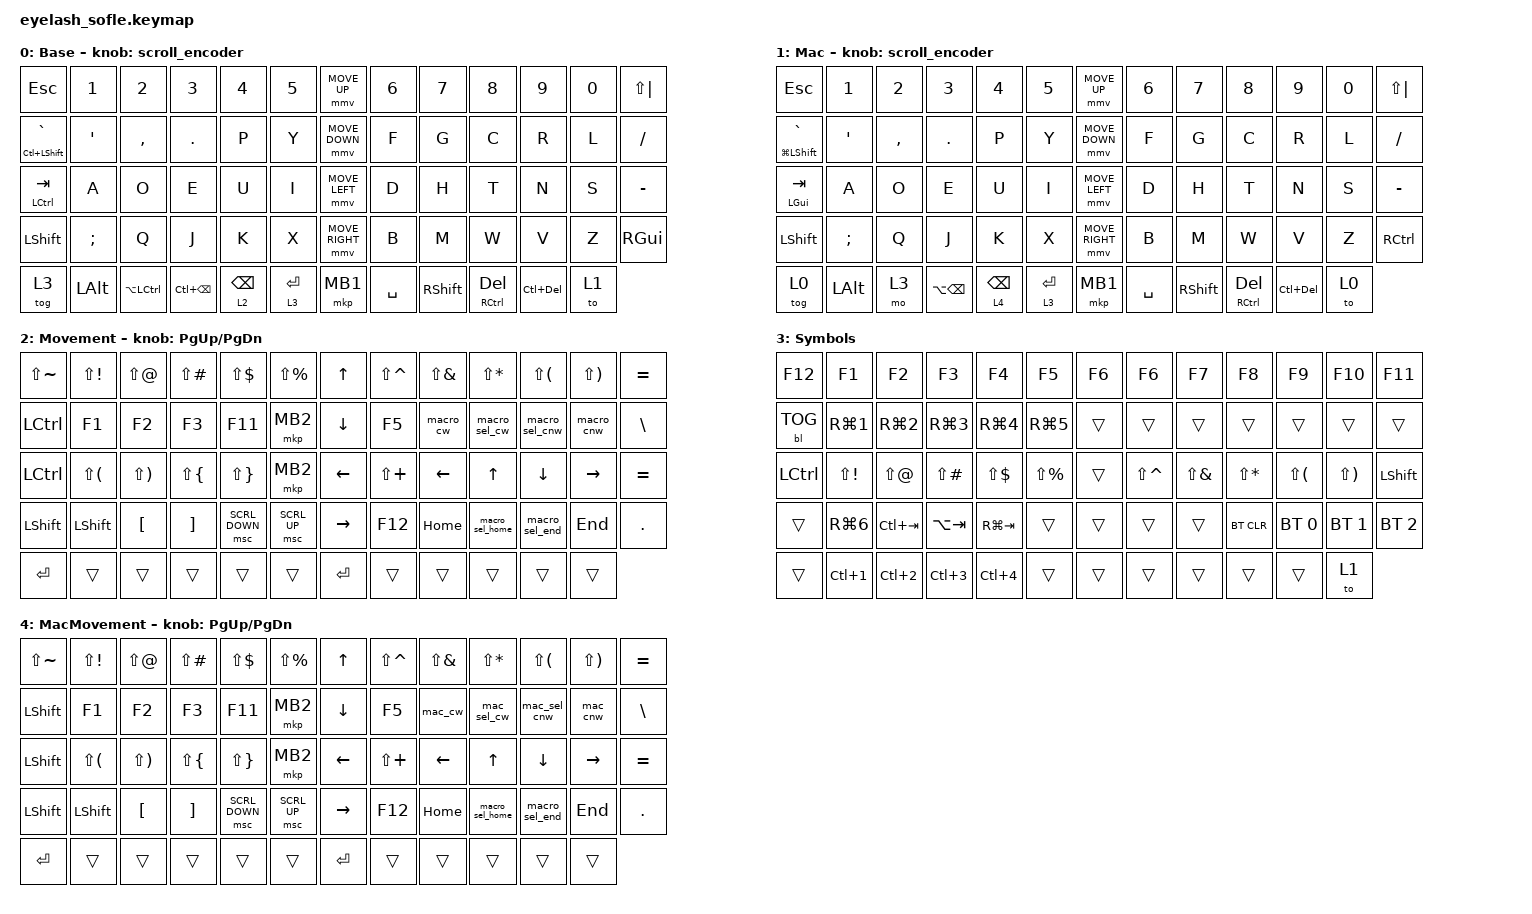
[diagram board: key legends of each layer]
#define ZMK_POINTING_DEFAULT_MOVE_VAL 1200
#define ZMK_POINTING_DEFAULT_SCRL_VAL 25

#include <input/processors.dtsi>
#include <zephyr/dt-bindings/input/input-event-codes.h>
#include <dt-bindings/zmk/behaviors.h>
#include <behaviors.dtsi>
#include <dt-bindings/zmk/backlight.h>
#include <dt-bindings/zmk/bt.h>
#include <dt-bindings/zmk/keys.h>
#include <dt-bindings/zmk/pointing.h>

&mmv_input_listener { input-processors = <&zip_xy_scaler 2 1>; };

&msc_input_listener { input-processors = <&zip_scroll_scaler 2 1>; };

&msc {
    acceleration-exponent = <1>;
    time-to-max-speed-ms = <100>;
    delay-ms = <0>;
};

&mmv {
    time-to-max-speed-ms = <200>;
    acceleration-exponent = <2>;
    trigger-period-ms = <10>;
};

/ {
    scroll_encoder: scroll_encoder {
        compatible = "zmk,behavior-sensor-rotate";
        #sensor-binding-cells = <0>;
        bindings = <&msc SCRL_DOWN>, <&msc SCRL_UP>;

        tap-ms = <100>;
    };

    mt_mo_kp: mt_mo_kp {
        compatible = "zmk,behavior-hold-tap";
        label = "MT_MO_KP";
        bindings = <&mo>, <&kp>;

        #binding-cells = <2>;
        tapping-term-ms = <200>;
        flavor = "balanced";
    };

    macros {
        macro_ctrl_bspc: macro_ctrl_bspc {
            compatible = "zmk,behavior-macro";
            #binding-cells = <0>;
            bindings = <&kp LCTRL &kp BSPC>;
        };

        macro_copy: macro_copy {
            compatible = "zmk,behavior-macro";
            #binding-cells = <0>;
            bindings =
                <&macro_press>,
                <&kp LCTRL>,
                <&macro_tap>,
                <&kp C>,
                <&macro_release>,
                <&kp LCTRL>;
        };

        macro_paste: macro_paste {
            compatible = "zmk,behavior-macro";
            #binding-cells = <0>;
            bindings =
                <&macro_press>,
                <&kp LCTRL>,
                <&macro_tap>,
                <&kp V>,
                <&macro_release>,
                <&kp LCTRL>;
        };

        macro_sel_cw: macro_sel_cw {
            compatible = "zmk,behavior-macro";
            #binding-cells = <0>;
            bindings =
                <&macro_press>,
                <&kp LCTRL &kp LSHFT>,
                <&macro_tap>,
                <&kp LEFT>,
                <&macro_release>,
                <&kp LCTRL &kp LSHFT>;
        };

        macro_sel_cnw: macro_sel_cnw {
            compatible = "zmk,behavior-macro";
            #binding-cells = <0>;
            bindings =
                <&macro_press>,
                <&kp LCTRL &kp LSHFT>,
                <&macro_tap>,
                <&kp RIGHT>,
                <&macro_release>,
                <&kp LCTRL &kp LSHFT>;
        };

        macro_cnw: macro_cnw {
            compatible = "zmk,behavior-macro";
            #binding-cells = <0>;
            bindings =
                <&macro_press>,
                <&kp LCTRL>,
                <&macro_tap>,
                <&kp RIGHT>,
                <&macro_release>,
                <&kp LCTRL>;
        };

        macro_sel_home: macro_sel_home {
            compatible = "zmk,behavior-macro";
            #binding-cells = <0>;
            bindings =
                <&macro_press>,
                <&kp LSHFT>,
                <&macro_tap>,
                <&kp HOME>,
                <&macro_release>,
                <&kp LEFT_SHIFT>;
        };

        macro_snippet: macro_snippet {
            compatible = "zmk,behavior-macro";
            #binding-cells = <0>;
            bindings =
                <&macro_press>,
                <&kp LGUI &kp LSHFT>,
                <&macro_tap>,
                <&kp S>,
                <&macro_release>,
                <&kp LGUI &kp LSHFT>;
        };

        macro_cw: macro_cw {
            compatible = "zmk,behavior-macro";
            #binding-cells = <0>;
            bindings =
                <&macro_press>,
                <&kp LCTRL>,
                <&macro_tap>,
                <&kp LEFT>,
                <&macro_release>,
                <&kp LCTRL>;

            label = "MACRO_CW";
        };

        mac_sel_cw: mac_sel_cw {
            compatible = "zmk,behavior-macro";
            #binding-cells = <0>;
            bindings =
                <&macro_press>,
                <&kp LEFT_ALT &kp LSHFT>,
                <&macro_tap>,
                <&kp LEFT>,
                <&macro_release>,
                <&kp LALT &kp LSHFT>;

            label = "MAC_SEL_CW";
        };

        mac_sel_cnw: mac_sel_cnw {
            compatible = "zmk,behavior-macro";
            #binding-cells = <0>;
            bindings =
                <&macro_press>,
                <&kp LALT &kp LSHFT>,
                <&macro_tap>,
                <&kp RIGHT>,
                <&macro_release>,
                <&kp LALT &kp LSHFT>;

            label = "MAC_SEL_CNW";
        };

        mac_cnw: mac_cnw {
            compatible = "zmk,behavior-macro";
            #binding-cells = <0>;
            bindings =
                <&macro_press>,
                <&kp LALT>,
                <&macro_tap>,
                <&kp RIGHT>,
                <&macro_release>,
                <&kp LALT>;

            label = "MAC_CNW";
        };

        mac_cw: mac_cw {
            compatible = "zmk,behavior-macro";
            #binding-cells = <0>;
            bindings =
                <&macro_press>,
                <&kp LALT>,
                <&macro_tap>,
                <&kp LEFT>,
                <&macro_release>,
                <&kp LALT>;

            label = "MAC_CW";
        };

        macro_sel_end: macro_sel_end {
            compatible = "zmk,behavior-macro";
            #binding-cells = <0>;
            bindings =
                <&macro_press>,
                <&kp LSHFT>,
                <&macro_tap>,
                <&kp END>,
                <&macro_release>,
                <&kp LEFT_SHIFT>;

            label = "MACRO_SEL_END";
        };
    };

    behaviors {
    };

    keymap {
        compatible = "zmk,keymap";

        Base {
            bindings = <
&kp ESC              &kp N1        &kp N2         &kp N3        &kp N4           &kp N5         &mmv MOVE_UP     &kp N6     &kp N7     &kp N8            &kp N9       &kp N0  &kp LS(PIPE)
&mt LC(LSHFT) GRAVE  &kp SQT       &kp COMMA      &kp DOT       &kp P            &kp Y          &mmv MOVE_DOWN   &kp F      &kp G      &kp C             &kp R        &kp L   &kp FSLH
&mt LCTRL TAB        &kp A         &kp O          &kp E         &kp U            &kp I          &mmv MOVE_LEFT   &kp D      &kp H      &kp T             &kp N        &kp S   &kp MINUS
&kp LSHFT            &kp SEMI      &kp Q          &kp J         &kp K            &kp X          &mmv MOVE_RIGHT  &kp B      &kp M      &kp W             &kp V        &kp Z   &kp RGUI
&tog 3               &kp LEFT_ALT  &kp LA(LCTRL)  &kp LC(BSPC)  &lt 2 BACKSPACE  &lt 3 ENTER    &mkp MB1         &kp SPACE  &kp RSHFT  &mt RCTRL DELETE  &kp LC(DEL)  &to 1
            >;

            sensor-bindings = <&scroll_encoder>;
        };

        Mac {
            bindings = <
&kp ESC              &kp N1        &kp N2     &kp N3        &kp N4           &kp N5         &mmv MOVE_UP     &kp N6     &kp N7     &kp N8            &kp N9       &kp N0  &kp LS(PIPE)
&mt LG(LSHFT) GRAVE  &kp SQT       &kp COMMA  &kp DOT       &kp P            &kp Y          &mmv MOVE_DOWN   &kp F      &kp G      &kp C             &kp R        &kp L   &kp FSLH
&mt LEFT_GUI TAB     &kp A         &kp O      &kp E         &kp U            &kp I          &mmv MOVE_LEFT   &kp D      &kp H      &kp T             &kp N        &kp S   &kp MINUS
&kp LSHFT            &kp SEMI      &kp Q      &kp J         &kp K            &kp X          &mmv MOVE_RIGHT  &kp B      &kp M      &kp W             &kp V        &kp Z   &kp RCTRL
&tog 0               &kp LEFT_ALT  &mo 3      &kp LA(BSPC)  &lt 4 BACKSPACE  &lt 3 ENTER    &mkp MB1         &kp SPACE  &kp RSHFT  &mt RCTRL DELETE  &kp LC(DEL)  &to 0
            >;

            sensor-bindings = <&scroll_encoder>;
        };

        Movement {
            bindings = <
&kp LS(TILDE)  &kp LS(EXCL)  &kp LS(AT)    &kp LS(POUND)  &kp LS(DLLR)    &kp LS(PRCNT)    &kp UP     &kp LS(CARET)  &kp LS(AMPS)  &kp LS(STAR)     &kp LS(LPAR)    &kp LS(RPAR)  &kp EQUAL
&kp LCTRL      &kp F1        &kp F2        &kp F3         &kp F11         &mkp MB2         &kp DOWN   &kp F5         &macro_cw     &macro_sel_cw    &macro_sel_cnw  &macro_cnw    &kp BSLH
&kp LCTRL      &kp LS(LPAR)  &kp LS(RPAR)  &kp LS(LBRC)   &kp LS(RBRC)    &mkp MB2         &kp LEFT   &kp LS(PLUS)   &kp LEFT      &kp UP           &kp DOWN        &kp RIGHT     &kp EQUAL
&kp LSHFT      &kp LSHFT     &kp LBKT      &kp RBKT       &msc SCRL_DOWN  &msc SCRL_UP     &kp RIGHT  &kp F12        &kp HOME      &macro_sel_home  &macro_sel_end  &kp END       &kp DOT
&kp RET        &trans        &trans        &trans         &trans          &trans           &kp RET    &trans         &trans        &trans           &trans          &trans
            >;

            sensor-bindings = <&inc_dec_kp PAGE_UP PAGE_DOWN>;
        };

        Symbols {
            bindings = <
&kp F12     &kp F1            &kp F2            &kp F3            &kp F4            &kp F5           &kp F6  &kp F6         &kp F7        &kp F8        &kp F9        &kp F10       &kp F11
&bl BL_TOG  &kp RG(NUMBER_1)  &kp RG(NUMBER_2)  &kp RG(NUMBER_3)  &kp RG(NUMBER_4)  &kp RG(N5)       &trans  &trans         &trans        &trans        &trans        &trans        &trans
&kp LCTRL   &kp LS(EXCL)      &kp LS(AT)        &kp LS(POUND)     &kp LS(DLLR)      &kp LS(PRCNT)    &trans  &kp LS(CARET)  &kp LS(AMPS)  &kp LS(STAR)  &kp LS(LPAR)  &kp LS(RPAR)  &kp LSHFT
&trans      &kp RG(NUMBER_6)  &kp LC(TAB)       &kp LA(TAB)       &kp RG(TAB)       &trans           &trans  &trans         &trans        &bt BT_CLR    &bt BT_SEL 0  &bt BT_SEL 1  &bt BT_SEL 2
&trans      &kp LC(NUMBER_1)  &kp LC(NUMBER_2)  &kp LC(NUMBER_3)  &kp LC(NUMBER_4)  &trans           &trans  &trans         &trans        &trans        &trans        &to 1
            >;
        };

        MacMovement {
            bindings = <
&kp LS(TILDE)  &kp LS(EXCL)  &kp LS(AT)    &kp LS(POUND)  &kp LS(DLLR)    &kp LS(PRCNT)    &kp UP     &kp LS(CARET)  &kp LS(AMPS)  &kp LS(STAR)     &kp LS(LPAR)    &kp LS(RPAR)  &kp EQUAL
&kp LSHFT      &kp F1        &kp F2        &kp F3         &kp F11         &mkp MB2         &kp DOWN   &kp F5         &mac_cw       &mac_sel_cw      &mac_sel_cnw    &mac_cnw      &kp BSLH
&kp LSHFT      &kp LS(LPAR)  &kp LS(RPAR)  &kp LS(LBRC)   &kp LS(RBRC)    &mkp MB2         &kp LEFT   &kp LS(PLUS)   &kp LEFT      &kp UP           &kp DOWN        &kp RIGHT     &kp EQUAL
&kp LSHFT      &kp LSHFT     &kp LBKT      &kp RBKT       &msc SCRL_DOWN  &msc SCRL_UP     &kp RIGHT  &kp F12        &kp HOME      &macro_sel_home  &macro_sel_end  &kp END       &kp DOT
&kp RET        &trans        &trans        &trans         &trans          &trans           &kp RET    &trans         &trans        &trans           &trans          &trans
            >;

            sensor-bindings = <&inc_dec_kp PAGE_UP PAGE_DOWN>;
        };
    };
};
